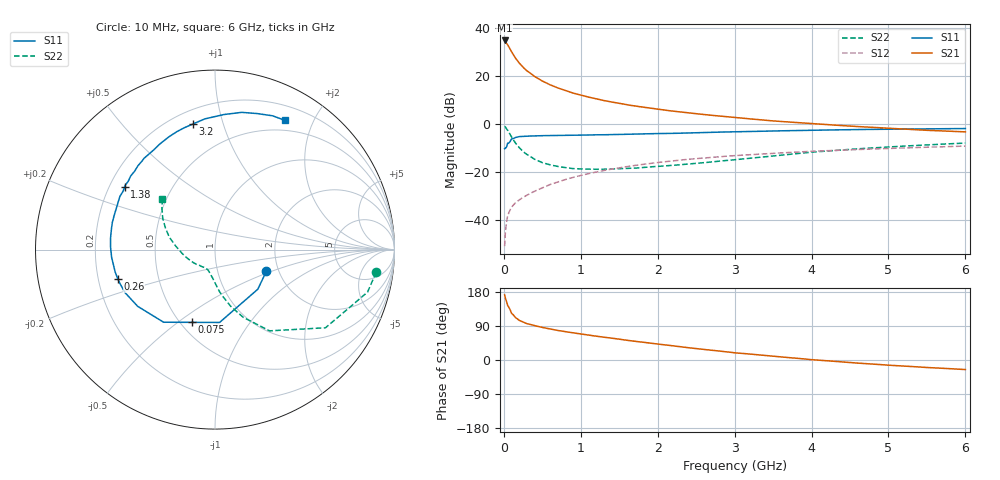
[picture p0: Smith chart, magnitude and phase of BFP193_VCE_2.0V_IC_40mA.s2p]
! Infineon Technologies  Discrete & RF Semiconductors
! BFP193
! VCE = 2.0 V,  IC =  40 mA
! Common Emitter S-Parameters:  Jan 2016
# GHz  S  MA  R  50
!  f  S11  S21  S12  S22
! GHz  MAG  ANG  MAG  ANG  MAG  ANG  MAG  ANG
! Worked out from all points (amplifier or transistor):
!   210 points, 10 MHz to 6 GHz, reference 50 ohm
!   highest |S21| = 35.0 dB at 10 MHz (marker M1)
!   |S21| within 3 dB of that: start of sweep to 70.52 MHz
!   unconditionally stable (mu >= 1): 505.7 MHz to 3.879 GHz
!   at 185 MHz: K = 0.67, MSG = 29.0 dB, |S12| = -31.9 dB
!   at 1.52 GHz: K = 1.08, MAG = 11.6 dB, |S12| = -18.0 dB
!   at 6 GHz: K = 0.94, MSG = 3.0 dB, |S12| = -9.0 dB
!   S11 on the Smith chart (normalised r, x): 10 MHz: 1.72, -0.46; 75 MHz: 0.57, -0.56; 260 MHz: 0.28, -0.14; 1.38 GHz: 0.26, +0.29; 3.2 GHz: 0.28, +0.80; 6 GHz: 0.37, +1.61
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0.01  0.3106 -23.1  56.02 172.0  0.0029 83.2  0.9066 -8.0
0.02  0.325 -42.8  53.47 163.2  0.0056 75.4  0.8823 -15.6
0.05  0.4067 -86.4  45.56 143.9  0.0125 64.9  0.754 -35.3
0.075  0.4257 -107.8  38.45 135.4  0.0157 59.9  0.6393 -44.0
0.1  0.4957 -125.3  32.55 123.5  0.0189 56.6  0.5454 -56.1
0.15  0.5342 -143.7  24.11 111.9  0.0231 54.1  0.4097 -67.3
0.2  0.5559 -154.5  18.97 104.6  0.0266 55.0  0.3279 -74.5
0.26  0.5656 -163.1  14.96 99.0  0.0308 56.8  0.2637 -80.6
0.3  0.57 -167.4  13.04 95.9  0.0334 57.4  0.2362 -83.8
0.4  0.5775 -175.7  9.941 90.5  0.0404 60.3  0.1875 -89.7
0.5  0.5821 178.7  7.985 85.8  0.0474 62.0  0.1595 -94.7
0.6  0.5856 173.6  6.687 81.7  0.0557 62.7  0.1432 -98.9
0.7  0.5882 168.9  5.758 77.9  0.0629 63.4  0.1326 -102.6
0.9  0.5932 161.5  4.488 71.6  0.0787 62.9  0.1198 -109.2
1.02  0.5962 156.8  3.987 68.1  0.0876 62.2  0.1175 -113.1
1.38  0.6132 145.2  2.96 58.2  0.1152 59.1  0.1174 -123.7
2.02  0.6445 127.3  2.049 41.6  0.1618 51.4  0.1337 -143.6
3.1  0.7048 102.0  1.345 17.4  0.2283 37.6  0.1898 -175.7
3.2  0.71 100.1  1.302 15.7  0.2335 36.3  0.1967 -178.3
4.1  0.7582 84.7  1.013 -0.5  0.2788 25.4  0.2708 163.0
5.1  0.7966 71.5  0.815 -14.8  0.3189 14.2  0.3459 147.6
6  0.8185 61.7  0.698 -25.2  0.3528 4.5  0.4079 135.9
